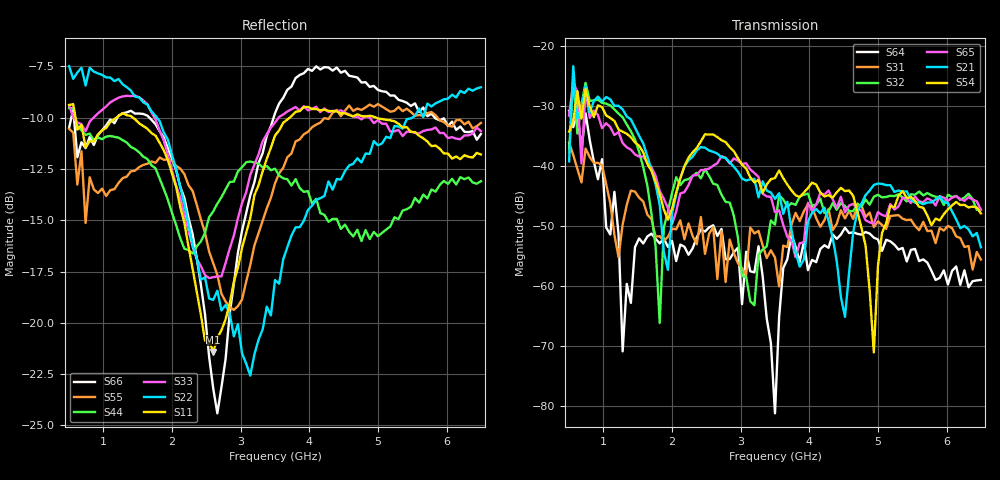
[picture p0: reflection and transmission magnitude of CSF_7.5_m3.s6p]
!Keysight Technologies,M9804A,MY58100912,A.14.10.03
!Date: Thursday, April 27, 2023 10:28:33
!Correction: S11(C  6-Port  )
!S12(C  6-Port  )
!S13(C  6-Port  )
!S14(C  6-Port  )
!S15(C  6-Port  )
!S16(C  6-Port  )
!S21(C  6-Port  )
!S22(C  6-Port  )
!S23(C  6-Port  )
!S24(C  6-Port  )
!S25(C  6-Port  )
!S26(C  6-Port  )
!S31(C  6-Port  )
!S32(C  6-Port  )
!S33(C  6-Port  )
!S34(C  6-Port  )
!S35(C  6-Port  )
!S36(C  6-Port  )
!S41(C  6-Port  )
!S42(C  6-Port  )
!S43(C  6-Port  )
!S44(C  6-Port  )
!S45(C  6-Port  )
!S46(C  6-Port  )
!S51(C  6-Port  )
!S52(C  6-Port  )
!S53(C  6-Port  )
!S54(C  6-Port  )
!S55(C  6-Port  )
!S56(C  6-Port  )
!S61(C  6-Port  )
!S62(C  6-Port  )
!S63(C  6-Port  )
!S64(C  6-Port  )
!S65(C  6-Port  )
!S66(C  6-Port  )
!S6P File: Measurement: :
# Hz S  RI  R 50
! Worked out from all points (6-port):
!   101 points, 500 MHz to 6.5 GHz, reference 50 ohm
!   strongest paths, dB at 500 MHz, 2 GHz, 3.5 GHz, 5 GHz, 6.5 GHz:
!     S54: -34.3, -47.1, -42.0, -56.7, -47.9
!     S21: -39.2, -47.9, -45.5, -42.9, -53.5
!     S65: -31.6, -49.7, -47.7, -47.7, -47.3
!     S32: -37.6, -44.5, -49.8, -44.8, -47.3
!     S31: -36.1, -50.5, -55.3, -49.2, -55.6
!     S64: -30.8, -52.5, -81.3, -52.2, -59.0
!   lowest |S11| = -21.4 dB at 2.6 GHz (marker M1), VSWR 1.19, Z = 42.5 + j2.17 ohm
!   |S11| at or under -10 dB: 591.6 MHz to 1.189 GHz (597.7 MHz wide, 67.1 % of centre); 1.43 GHz to 3.714 GHz (2.284 GHz wide, 88.8 % of centre); 4.972 GHz to end of sweep
